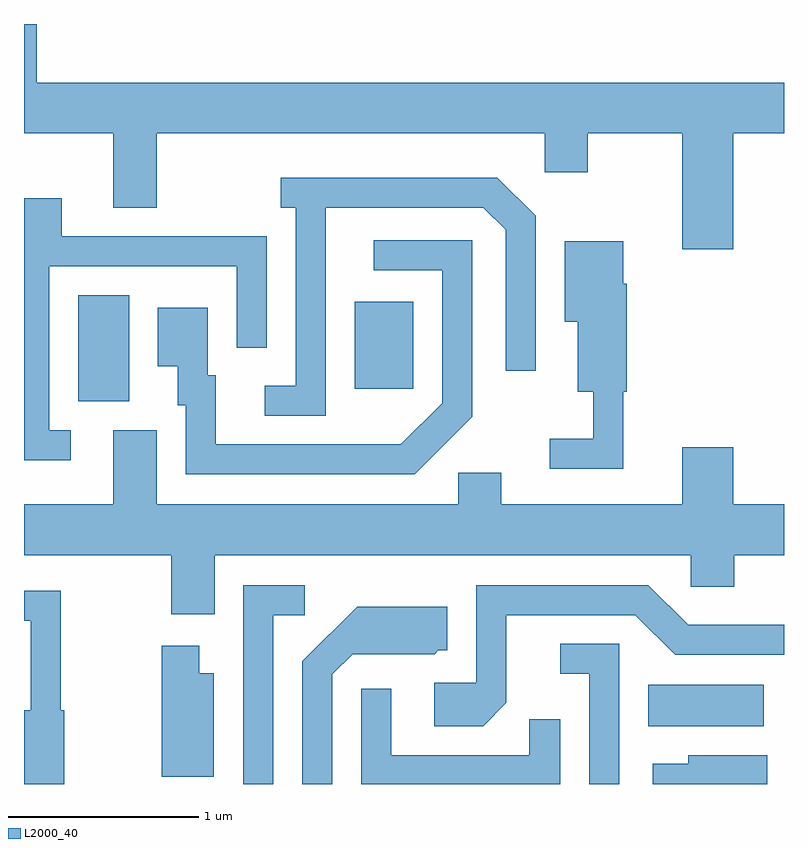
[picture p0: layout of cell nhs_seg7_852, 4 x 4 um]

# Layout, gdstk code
import gdstk
lib = gdstk.Library(unit=1e-6, precision=1e-09)
def R(c, l, rs):  # rectangles x0, y0, x1, y1
    for r in rs: c.add(gdstk.rectangle(r[:2], r[2:], *l))
def P(c, l, *ps):  # polygons
    for p in ps: c.add(gdstk.Polygon(p, *l))
L2000_40 = (2000, 40)

nhs_seg7_852 = lib.new_cell('nhs_seg7_852')
R(nhs_seg7_852, L2000_40, [(214.896,1684.556,215.504,1684.774), (211.896,1686.266,212.164,1686.824), (213.351,1686.331,213.659,1686.789)])
P(nhs_seg7_852, L2000_40, [(215.344,1687.676),(215.611,1687.676),(215.611,1687.944),(211.679,1687.944),(211.679,1688.252),(211.611,1688.252),(211.611,1687.676),(212.081,1687.676),(212.081,1687.286),(212.309,1687.286),(212.309,1687.676),(214.351,1687.676),(214.351,1687.471),(214.579,1687.471),(214.579,1687.676),(215.076,1687.676),(215.076,1687.066),(215.344,1687.066)],
  [(213.199,1687.286),(214.029,1687.286),(214.146,1687.169),(214.146,1686.428),(214.304,1686.428),(214.304,1687.242),(214.102,1687.444),(212.963,1687.444),(212.963,1687.286),(213.041,1687.286),(213.041,1686.349),(212.878,1686.349),(212.878,1686.191),(213.199,1686.191)],
  [(211.858,1686.114),(211.744,1686.114),(211.744,1686.976),(212.731,1686.976),(212.731,1686.548),(212.889,1686.548),(212.889,1687.134),(211.809,1687.134),(211.809,1687.334),(211.611,1687.334),(211.611,1685.956),(211.858,1685.956)],
  [(213.969,1686.184),(213.969,1687.114),(213.453,1687.114),(213.453,1686.956),(213.811,1686.956),(213.811,1686.257),(213.594,1686.039),(212.619,1686.039),(212.619,1686.404),(212.579,1686.404),(212.579,1686.759),(212.316,1686.759),(212.316,1686.451),(212.421,1686.451),(212.421,1686.246),(212.461,1686.246),(212.461,1685.881),(213.667,1685.881)],
  [(214.764,1686.316),(214.784,1686.316),(214.784,1686.884),(214.764,1686.884),(214.764,1687.109),(214.456,1687.109),(214.456,1686.686),(214.526,1686.686),(214.526,1686.316),(214.606,1686.316),(214.606,1686.069),(214.378,1686.069),(214.378,1685.911),(214.764,1685.911)],
  [(212.614,1685.456),(215.121,1685.456),(215.121,1685.291),(215.349,1685.291),(215.349,1685.456),(215.611,1685.456),(215.611,1685.724),(215.344,1685.724),(215.344,1686.024),(215.076,1686.024),(215.076,1685.724),(214.124,1685.724),(214.124,1685.889),(213.896,1685.889),(213.896,1685.724),(212.309,1685.724),(212.309,1686.114),(212.081,1686.114),(212.081,1685.724),(211.611,1685.724),(211.611,1685.456),(212.386,1685.456),(212.386,1685.146),(212.614,1685.146)],
  [(212.924,1685.141),(213.088,1685.141),(213.088,1685.299),(212.766,1685.299),(212.766,1684.252),(212.924,1684.252)],
  [(214.149,1684.679),(214.149,1685.141),(214.829,1685.141),(215.039,1684.931),(215.611,1684.931),(215.611,1685.089),(215.107,1685.089),(214.897,1685.299),(213.991,1685.299),(213.991,1684.784),(213.771,1684.784),(213.771,1684.556),(214.027,1684.556)],
  [(211.824,1684.639),(211.804,1684.639),(211.804,1685.269),(211.611,1685.269),(211.611,1685.111),(211.646,1685.111),(211.646,1684.639),(211.611,1684.639),(211.611,1684.252),(211.824,1684.252)],
  [(213.234,1684.829),(213.342,1684.936),(213.772,1684.936),(213.792,1684.956),(213.839,1684.956),(213.839,1685.184),(213.364,1685.184),(213.076,1684.897),(213.076,1684.252),(213.234,1684.252)],
  [(214.744,1684.989),(214.433,1684.989),(214.433,1684.831),(214.586,1684.831),(214.586,1684.252),(214.744,1684.252)],
  [(212.609,1684.834),(212.534,1684.834),(212.534,1684.979),(212.336,1684.979),(212.336,1684.291),(212.609,1684.291)],
  [(214.434,1684.593),(214.271,1684.593),(214.271,1684.404),(213.544,1684.404),(213.544,1684.753),(213.386,1684.753),(213.386,1684.252),(214.434,1684.252)],
  [(215.524,1684.404),(215.106,1684.404),(215.106,1684.359),(214.921,1684.359),(214.921,1684.252),(215.524,1684.252)])

lib.write_gds('nhs_seg7_852.gds')
